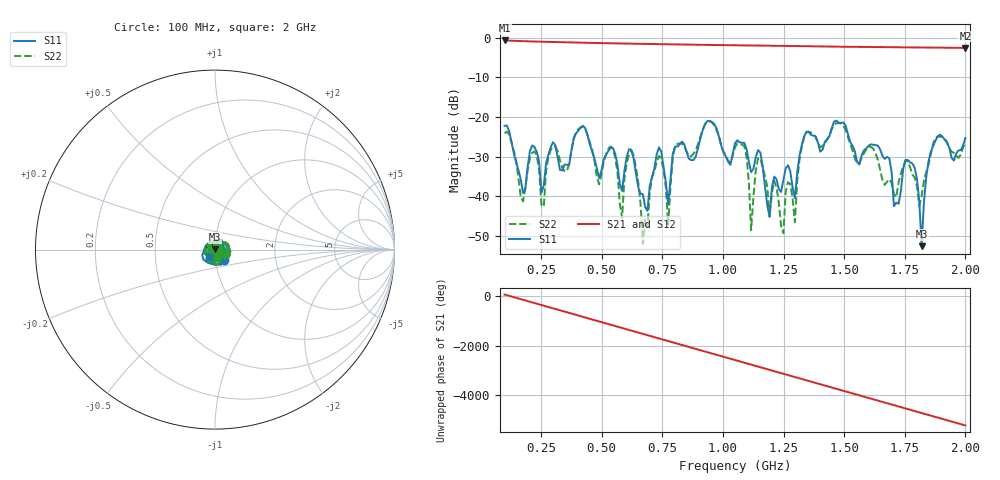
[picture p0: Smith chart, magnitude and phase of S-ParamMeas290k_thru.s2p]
!Keysight Technologies,N5242B,MY48420967,A.15.65.19
!Date: Sunday, December 18, 2022 01:34:17
!Correction: S11(C  2-Port  )
!S21(C  2-Port  )
!S12(C  2-Port  )
!S22(C  2-Port  )
!S2P File: Measurements: S11, S21, S12, S22:
# Hz S  dB  R 50
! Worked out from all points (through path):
!   201 points, 100 MHz to 2 GHz, reference 50 ohm
!   highest |S21| = -0.73 dB at 100 MHz (marker M1); lowest = -2.6 dB at 2 GHz (marker M2)
!   group delay of S21, straight-line fit = 7.74 ns
!   lowest |S11| = -52.6 dB at 1.819 GHz (marker M3), VSWR 1.00, Z = 50.1 + j0.219 ohm
!   |S11| at or under -10 dB: start of sweep to end of sweep
!   |S22| runs from -52.0 to -21.1 dB; largest |S21 - S12| = 0.0004
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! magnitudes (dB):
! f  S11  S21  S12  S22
! 100 MHz  -22.3  -0.7  -0.7  -24.1
! 261.5 MHz  -37.4  -1.1  -1.1  -42.6
! 423 MHz  -22.2  -1.3  -1.3  -22.5
! 546.5 MHz  -27.8  -1.5  -1.5  -28.0
! 584.5 MHz  -38.7  -1.5  -1.5  -45.5
! 632 MHz  -30.5  -1.6  -1.6  -29.6
! 670 MHz  -39.5  -1.6  -1.6  -52.0
! 736.5 MHz  -27.7  -1.7  -1.7  -29.8
! 774.5 MHz  -42.1  -1.7  -1.7  -47.1
! 803 MHz  -27.5  -1.7  -1.7  -27.4
! 1.05 GHz  -26.6  -2.0  -2.0  -27.6
! 1.097 GHz  -28.0  -2.0  -2.0  -30.0
! 1.117 GHz  -33.9  -2.0  -2.0  -48.5
! 1.155 GHz  -29.0  -2.0  -2.0  -30.4
! 1.192 GHz  -45.1  -2.1  -2.1  -45.1
! 1.25 GHz  -35.9  -2.1  -2.1  -49.3
! 1.373 GHz  -24.7  -2.2  -2.2  -24.3
! 1.687 GHz  -30.5  -2.4  -2.4  -35.7
! 1.791 GHz  -32.9  -2.5  -2.5  -35.3
! 1.819 GHz  -52.6  -2.5  -2.5  -39.9
! 1.867 GHz  -27.3  -2.5  -2.5  -26.7
! 2 GHz  -25.3  -2.6  -2.6  -26.3
